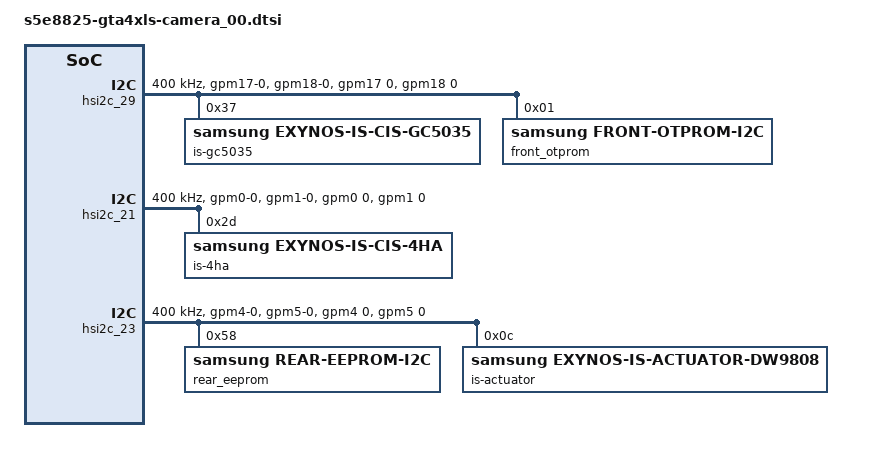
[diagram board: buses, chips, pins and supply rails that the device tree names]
/*
 * Samsung Exynos SoC series Pablo driver
 *
 * Copyright (c) 2021 Samsung Electronics Co., Ltd
 *
 * This program is free software; you can redistribute it and/or modify
 * it under the terms of the GNU General Public License version 2 as
 * published by the Free Software Foundation.
 */

#include <dt-bindings/camera/exynos_is_dt.h>

#include "module_4ha.dtsi"
#include "module_gc5035.dtsi"

/ {
	fragment@camera {
		target-path = "/";
		__overlay__ {
			#address-cells = <2>;
			#size-cells = <1>;
			interrupt-parent = <&gic>;

			/* WIDE */
			is_sensor_4ha: is_sensor_4ha@5A {
				power_seq {
					scenario_normal_on {
						20 { pname = "vdd_ldo25"; pin = <PIN_REGULATOR 1 0>; share = <SRT_ACQUIRE SHARED_PIN1 1>;};
					};

					scenario_normal_off {
						100 { pname = "vdd_ldo25"; pin = <PIN_REGULATOR 0 0>; share = <SRT_RELEASE SHARED_PIN1 0>;};
					};

					scenario_vision_on {
						20 { pname = "vdd_ldo25"; pin = <PIN_REGULATOR 1 0>; share = <SRT_ACQUIRE SHARED_PIN1 1>;};
					};

					scenario_vision_off {
						100 { pname = "vdd_ldo25"; pin = <PIN_REGULATOR 0 0>; share = <SRT_RELEASE SHARED_PIN1 0>;};
					};

					scenario_read_rom_on {
						10 { pname = "vdd_ldo25"; pin = <PIN_REGULATOR 1 6000>; share = <SRT_ACQUIRE SHARED_PIN1 1>;};
					};

					scenario_read_rom_off {
						30 { pname = "vdd_ldo25"; pin = <PIN_REGULATOR 0 25000>; share = <SRT_RELEASE SHARED_PIN1 0>;};
					};
				};
			};

			/* FRONT */
			is_sensor_gc5035: is_sensor_gc5035@6E {
				power_seq {
					scenario_normal_on {
						20 { pname = "vdd_ldo25"; pin = <PIN_REGULATOR 1 500>; share = <SRT_ACQUIRE SHARED_PIN1 1>;};
					};

					scenario_normal_off {
						50 { pname = "vdd_ldo25"; pin = <PIN_REGULATOR 0 0>; share = <SRT_RELEASE SHARED_PIN1 0>;};
					};

					scenario_vision_on {
						20 { pname = "vdd_ldo25"; pin = <PIN_REGULATOR 1 500>; share = <SRT_ACQUIRE SHARED_PIN1 1>;};
					};

					scenario_vision_off {
						50 { pname = "vdd_ldo25"; pin = <PIN_REGULATOR 0 0>; share = <SRT_RELEASE SHARED_PIN1 0>;};
					};

					scenario_read_rom_on {
						20 { pname = "vdd_ldo25"; pin = <PIN_REGULATOR 1 500>; share = <SRT_ACQUIRE SHARED_PIN1 1>;};
					};

					scenario_read_rom_off {
						50 { pname = "vdd_ldo25"; pin = <PIN_REGULATOR 0 0>; share = <SRT_RELEASE SHARED_PIN1 0>;};
					};
				};
			};

			/* REAR CAMERA */
			is_sensor0: is_sensor0@15030000 {
				#address-cells = <1>;
				#size-cells = <1>;
				scenario = <SENSOR_SCENARIO_NORMAL>;    /* Normal, Vision, OIS etc */
				id = <0>;
				csi_ch = <0>;
				status = "okay";
				use_cphy = <0>;

				interrupts = <0 INTREQ__CSIS0 IRQ_TYPE_LEVEL_HIGH>; /* MIPI-CSI0 */
				phys = <&mipi_phy_csis0_m0s4s4s4s4s2s1 0>;
				phy_setfile = <&d_phy_setfile>;
				phy_tune_default_mode = "3264 2448 30";
			};

			/* FRONT CAMERA */
			is_sensor1: is_sensor1@15040000 {
				#address-cells = <1>;
				#size-cells = <1>;
				reg = <0x0 0x15050000 0x1000>, /* MIPI-CSI2 */
					<0x0 0x150F0000 0x10000>; /* PHY: M0S4S4S4S4S2S1 */
				scenario = <SENSOR_SCENARIO_NORMAL>;    /* Normal, Vision, OIS etc */
				id = <1>;
				csi_ch = <2>;
				status = "okay";
				use_cphy = <0>;

				interrupts = <0 INTREQ__CSIS2 IRQ_TYPE_LEVEL_HIGH>; /* MIPI-CSI2 */
				phys = <&mipi_phy_csis2_m0s4s4s4s4s2s1 0>;
				phy_setfile = <&d_phy_setfile>;
				phy_tune_default_mode = "2576 1932 30";
			};
		}; /* end of __overlay__ */
	}; /* end of fragment */
}; /* end of root */

/***** reference symbol node *****/
/* GPIO_PERI */
&pinctrl_1 {
	/* WIDE I2C */
	hsi2c21_bus: hsi2c21-bus {
		samsung,pins = "gpm0-0", "gpm1-0";
		samsung,pin-function = <2>; /* 0: Input, 1: Output, 2: Func */
		samsung,pin-pud = <3>;      /* 0: NP, 1: PD, 2: Reserved, 3: PU */
		samsung,pin-drv = <0>;      /* 0: x1, 1: x2, 2: x3, 3: x4 */
	};

	hsi2c21_bus_in: hsi2c21-bus-in {
		samsung,pins = "gpm0-0", "gpm1-0";
		samsung,pin-function = <0>; /* 0: Input, 1: Output, 2: Func */
		samsung,pin-pud = <1>;      /* 0: NP, 1: PD, 2: Reserved, 3: PU */
		samsung,pin-drv = <0>;      /* 0: x1, 1: x2, 2: x3, 3: x4 */
	};

	/* AF_EEP I2C */
	hsi2c23_bus: hsi2c23-bus {
		samsung,pins = "gpm4-0", "gpm5-0";
		samsung,pin-function = <2>; /* 0: Input, 1: Output, 2: Func */
		samsung,pin-pud = <3>;      /* 0: NP, 1: PD, 2: Reserved, 3: PU */
		samsung,pin-drv = <0>;      /* 0: x1, 1: x2, 2: x3, 3: x4 */
	};

	hsi2c23_bus_in: hsi2c23-bus-in {
		samsung,pins = "gpm4-0", "gpm5-0";
		samsung,pin-function = <0>; /* 0: Input, 1: Output, 2: Func */
		samsung,pin-pud = <1>;      /* 0: NP, 1: PD, 2: Reserved, 3: PU */
		samsung,pin-drv = <0>;      /* 0: x1, 1: x2, 2: x3, 3: x4 */
	};

	/* FRONT I2C */
	hsi2c29_bus: hsi2c29-bus {
		samsung,pins = "gpm17-0", "gpm18-0";
		samsung,pin-function = <2>; /* 0: Input, 1: Output, 2: Func */
		samsung,pin-pud = <3>;      /* 0: NP, 1: PD, 2: Reserved, 3: PU */
		samsung,pin-drv = <0>;      /* 0: x1, 1: x2, 2: x3, 3: x4 */
	};

	hsi2c29_bus_in: hsi2c29-bus-in {
		samsung,pins = "gpm17-0", "gpm18-0";
		samsung,pin-function = <0>; /* 0: Input, 1: Output, 2: Func */
		samsung,pin-pud = <1>;      /* 0: NP, 1: PD, 2: Reserved, 3: PU */
		samsung,pin-drv = <0>;      /* 0: x1, 1: x2, 2: x3, 3: x4 */
	};
};


&hsi2c_29 {
	#address-cells = <1>;
	#size-cells = <0>;
	gpios = <&gpm17 0 0 &gpm18 0 0>;
	status = "okay";
	clock-frequency = <400000>;
	samsung,reset-before-trans;

	pinctrl-names = "default","on_i2c","off_i2c";
	pinctrl-0 = <&hsi2c29_bus_in>;
	pinctrl-1 = <&hsi2c29_bus>;
	pinctrl-2 = <&hsi2c29_bus_in>;

	is-gc5035@6E {
		compatible = "samsung,exynos-is-cis-gc5035";
		sensor-module = <&is_sensor_gc5035>;
		reg = <0x37>; /* 1 bit right shift */
		id = <1>; /* matching is_sensor id */
		use_initial_ae; /* for initial AE of face unlock */
		setfile = "setA";
		status = "okay";
		//vendor_use_adaptive_mipi;
	};

	front_otprom@6E {
		compatible = "samsung,front-otprom-i2c";
		reg = <0x01>;
		rom_power_position = <1>;
		rom_size = <0x1A6A>;
		cal_map_es_version = <1>;
		camera_module_es_version = "A";
		//skip_cal_loading;

		/* 0 header */
		header_crc_check_list = <0x0000 0x0042 0x0043>;
		/* 0 cross-talk */
		/* 1 standard cal */
		crc_check_list = <0x0061 0x00FA 0x00FB>;
		/* Master */
		rom_header_version_start_addr = <0x0008>;
		rom_header_cal_data_start_addr = <0x0000>;
		rom_header_cal_map_ver_start_addr = <0x0013>;
		rom_header_project_name_start_addr = <0x001B>;
		rom_header_module_id_addr = <0x0029>; /* 0x28 + reserved bytes */
		rom_header_sensor_id_addr = <0x0033>;
		rom_awb_master_addr = <0x006A>;

		use_standard_cal;
		rom_standard_cal_start_addr = <0x006A>;
		rom_standard_cal_end_addr = <0x00FA>;
		rom_standard_cal_sec2lsi_end_addr = <0x1A69>;
		rom_awb_start_addr = <0x006A>;
		rom_awb_end_addr = <0x0071>;
		rom_shading_start_addr = <0x0072>;
		rom_shading_end_addr = <0x00FA>;
		rom_factory_start_addr = <0x0047>;
		rom_factory_end_addr = <0x0060>;

		rom_awb_sec2lsi_start_addr = <0x006A>;
		rom_awb_sec2lsi_end_addr = <0x0071>;
		rom_awb_sec2lsi_checksum_addr = <0x0076>;
		rom_awb_sec2lsi_checksum_len = <0xC>;
		rom_shading_sec2lsi_start_addr = <0x007A>;
		rom_shading_sec2lsi_end_addr = <0x1A61>;
		rom_shading_sec2lsi_checksum_addr = <0x1A66>;
		rom_shading_sec2lsi_checksum_len = <0x19EC>;
		rom_factory_sec2lsi_start_addr = <0x0047>;
	};
};

&hsi2c_21 {
	#address-cells = <1>;
	#size-cells = <0>;
	gpios = <&gpm0 0 0 &gpm1 0 0>;
	status = "okay";
	clock-frequency = <400000>;
	samsung,reset-before-trans;

	pinctrl-names = "default","on_i2c","off_i2c";
	pinctrl-0 = <&hsi2c21_bus_in>;
	pinctrl-1 = <&hsi2c21_bus>;
	pinctrl-2 = <&hsi2c21_bus_in>;

	is-4ha@5A {
		compatible = "samsung,exynos-is-cis-4ha";
		sensor-module = <&is_sensor_4ha>;
		reg = <0x2D>; /* 1 bit right shift */
		id = <0>; /* matching is_sensor id */
		setfile = "setB";
		status = "okay";
		/* vendor_use_adaptive_mipi; */
	};
};

&hsi2c_23 {
	#address-cells = <1>;
	#size-cells = <0>;
	gpios = <&gpm4 0 0 &gpm5 0 0>;
	status = "okay";
	clock-frequency = <400000>;
	samsung,reset-before-trans;

	pinctrl-names = "default","on_i2c","off_i2c";
	pinctrl-0 = <&hsi2c23_bus_in>;
	pinctrl-1 = <&hsi2c23_bus>;
	pinctrl-2 = <&hsi2c23_bus_in>;

	rear_eeprom@B0 { /* Rear Wide eeprom */
		compatible = "samsung,rear-eeprom-i2c";
		reg = <0x58>;

		rom_power_position = <0>;
		rom_size = <0x1E20>;
		cal_map_es_version = <1>;
		camera_module_es_version = "A";
		//skip_cal_loading;

		/* 0 header */
		header_crc_check_list = <0x0000 0x00FB 0x00FC>;

		crc_check_list = <  0x0140 0x018B 0X018C
			0x0420 0x083B 0x083C>;
		/* Master */
		rom_header_version_start_addr = <0x48>;
		rom_header_cal_data_start_addr = <0x00>;
		rom_header_cal_map_ver_start_addr = <0x73>;
		rom_header_project_name_start_addr = <0x7B>;
		rom_header_module_id_addr = <0xAE>;
		rom_header_sensor_id_addr = <0xB8>;
		rom_awb_master_addr = <0x0420>;
		rom_af_cal_addr = <0x014C 0x0140>; /* Near Far Mid1 ... Mid7 */

		use_standard_cal;
		rom_standard_cal_start_addr = <0x0100>;
		rom_standard_cal_end_addr = <0x083F>;
		rom_standard_cal_sec2lsi_end_addr = <0x1E1F>;
		rom_awb_start_addr = <0x0420>;
		rom_awb_end_addr = <0x0427>;
		rom_shading_start_addr = <0x0434>;
		rom_shading_end_addr = <0x082C>;
		rom_factory_start_addr = <0x01E0>;
		rom_factory_end_addr = <0x041F>;

		rom_awb_sec2lsi_start_addr = <0x0420>;
		rom_awb_sec2lsi_end_addr = <0x0427>;
		rom_awb_sec2lsi_checksum_addr = <0x042C>;
		rom_awb_sec2lsi_checksum_len = <0xC>;
		rom_shading_sec2lsi_start_addr = <0x0430>;
		rom_shading_sec2lsi_end_addr = <0x1E17>;
		rom_shading_sec2lsi_checksum_addr = <0x1E1C>;
		rom_shading_sec2lsi_checksum_len = <0x19EC>;
		rom_factory_sec2lsi_start_addr = <0x01E0>;
	};

	is-actuator@18 {
		compatible = "samsung,exynos-is-actuator-dw9808";
		sensor-module = <&is_sensor_4ha>;
		reg = <0x0C>;
		id = <0>; /* matching is_sensor id */
	};
};

&exynos_is {
	pinctrl-names = "default","sleep";
	pinctrl-0 = <>;
	pinctrl-1 = <>;

	vender {
		use_module_check;
		check_sensor_vendor;
		aperture_sensor_index = <0>;

		is_vendor_sensor_count = <2>;
		max_supported_camera = <2>;
		supported_cameraId = <0 1>;
		/* ois_gyro_list = <0x00 0x00 0x01 0x01 0x01>; */
		/*
		* Wide(0)
		* Front(1)
		* U Wide(2)
		* Front 80(3) - not available for factory
		* Front Secure(5) - not available for factory
		* DUAL_REAR_PORTRAIT_WIDE(23)
		* Bokeh(52)
		* Rear_UW(58)
		* Macro(60)
		*/

		/* sysfs camera id */
		max_camera_num = <2>;
		sensor_id { /* sensor position = <sensor_id> */
			0 = <39>;	/* 4ha */
			1 = <210>;	/* gc5035 */
		};

		camera_info0 {			/* 0 : sysfs rear */
			internal_id = <0>;	/* 0 : wide */
			isp = <0>;		/* 0 : INT, 1 : EXT, 2 : SOC */
			cal_memory = <2>;	/* 0 : N, 1 : FROM, 2 : EEPROM, 3 : OTP */
			read_version = <0>;	/* 0 : SYSFS, 1 : CAMON */
			core_voltage = <0>;	/* 0 : N, 1 : Y */
			upgrade = <0>;		/* 0 : N, 1 : SYSFS , 2 : CAMON */
			fw_write = <0>;		/* 0 : N, 1 : OS, 2 : SD, 3 : ALL */
			fw_dump = <0>;		/* 0 : N, 1 : Y */
			companion = <0>;	/* 0 : N, 1 : Y */
			ois = <0>;		/* 0 : N, 1 : Y */
			valid = <1>;		/* 0 : INVALID, 1 : VALID */
		};
		camera_info1 {			/* 1 : sysfs front */
			internal_id = <1>;	/* 1 : front master */
			isp = <0>;		/* 0 : INT, 1 : EXT, 2 : SOC */
			cal_memory = <3>;	/* 0 : N, 1 : FROM, 2 : EEPROM, 3 : OTP */
			read_version = <0>;	/* 0 : SYSFS, 1 : CAMON */
			core_voltage = <0>;	/* 0 : N, 1 : Y */
			upgrade = <0>;		/* 0 : N, 1 : SYSFS, 2 : CAMON */
			fw_write = <0>;		/* 0 : N, 1 : OS, 2 : SD, 3 : ALL */
			fw_dump = <0>;		/* 0 : N, 1 : Y */
			companion = <0>;	/* 0 : N, 1 : Y */
			ois = <0>;		/* 0 : N, 1 : Y */
			valid = <1>;		/* 0 : INVALID, 1 : VALID */
		};
	};

	lic_offsets {
		/* 3AA = <setA lic offset0, setA lic offset1, set A trigger context */
		/*		setB lic offset0, setB lic offset1, set B trigger context> */
		/* 4672: 4640x4352 */
		/* 5824: 5804x4352 */
		3AA = <5461 10922 0 5461 10922 0>;
	};

	buffer_info {
		ypp_buf_max_width = <4608>;	/* defalut value : 5760 */
	};

	is_dvfs {
		#define CPU_CL0	"0-5"
		#define CPU_CL1	"6-7"
		#define CPU_ALL	"0-7"

		table0 {
			desc = "dvfs table v0.2";

			default_cam = <1>;
			default_isp = <1>;
			default_mif = <1>;
			default_int = <2>;
			default_cpu = CPU_CL0;

			rear_single_photo_mif = <3>;
			rear_single_photo_int = <4>;
			rear_single_photo_cpu = CPU_CL0;

			rear_single_photo_full_mif = <2>;
			rear_single_photo_full_int = <3>;
			rear_single_photo_full_cpu = CPU_CL0;

			rear_single_vt_photo_mif = <2>;
			rear_single_vt_photo_int = <3>;
			rear_single_vt_photo_cpu = CPU_CL0;

			rear_single_video_fhd30_mif = <3>;
			rear_single_video_fhd30_int = <4>;
			rear_single_video_fhd30_cpu = CPU_CL0;

			rear_single_videohdr_mif = <0>;
			rear_single_videohdr_int = <0>;
			rear_single_videohdr_cpu = CPU_CL0;

			rear_single_video_fhd60_mif = <1>;
			rear_single_video_fhd60_int = <4>;
			rear_single_video_fhd60_cpu = CPU_CL0;

			rear_single_video_uhd30_mif = <0>;
			rear_single_video_uhd30_int = <4>;
			rear_single_video_uhd30_cpu = CPU_CL0;

			rear_single_video_uhd60_mif = <0>;
			rear_single_video_uhd60_int = <0>;
			rear_single_video_uhd60_cpu = CPU_CL0;

			rear_single_capture_isp = <1>;
			rear_single_capture_mif = <0>;
			rear_single_capture_int = <1>;
			rear_single_capture_cpu = CPU_CL0;

			rear_single_video_fhd120_mif = <0>;
			rear_single_video_fhd120_int = <3>;
			rear_single_video_fhd120_cpu = CPU_CL0;

			rear_single_video_fhd240_mif = <0>;
			rear_single_video_fhd240_int = <0>;
			rear_single_video_fhd240_hpg = <8>;
			rear_single_video_fhd240_cpu = CPU_CL0;

			rear_single_video_fhd480_mif = <0>;
			rear_single_video_fhd480_int = <0>;
			rear_single_video_fhd480_cpu = CPU_CL0;

			rear_single_video_hd30_mif = <4>;
			rear_single_video_hd30_int = <4>;
			rear_single_video_hd30_cpu = CPU_CL0;

			rear_single_video_hd240_mif = <0>;
			rear_single_video_hd240_int = <4>;
			rear_single_video_hd240_hpg = <8>;
			rear_single_video_hd240_cpu = CPU_CL0;

			rear_single_ssm_isp = <0>;
			rear_single_ssm_mif = <0>;
			rear_single_ssm_int = <0>;
			rear_single_ssm_cpu = CPU_CL0;

			rear_single_video_8k24_mif = <0>;
			rear_single_video_8k24_int = <0>;
			rear_single_video_8k24_cpu = CPU_CL0;

			rear_single_video_8k30_mif = <0>;
			rear_single_video_8k30_int = <0>;
			rear_single_video_8k30_cpu = CPU_CL0;

			rear_single_fastae_mif = <0>;
			rear_single_fastae_int = <0>;
			rear_single_fastae_cpu = CPU_CL0;

			rear_single_remosaic_photo_mif = <3>;
			rear_single_remosaic_photo_int = <4>;
			rear_single_remosaic_photo_cpu = CPU_CL0;

			rear_single_remosaic_capture_cam = <3>;
			rear_single_remosaic_capture_isp = <1>;
			rear_single_remosaic_capture_mif = <0>;
			rear_single_remosaic_capture_int = <1>;
			rear_single_remosaic_capture_cpu = CPU_CL0;

			rear_dual_wide_tele_photo_mif = <3>;
			rear_dual_wide_tele_photo_int = <4>;
			rear_dual_wide_tele_photo_cpu = CPU_CL0;

			rear_dual_wide_ultrawide_photo_mif = <0>;
			rear_dual_wide_ultrawide_photo_int = <0>;
			rear_dual_wide_ultrawide_photo_cpu = CPU_CL0;

			rear_dual_wide_ultrawide_video_fhd30_mif = <0>;
			rear_dual_wide_ultrawide_video_fhd30_int = <0>;
			rear_dual_wide_ultrawide_video_fhd30_cpu = CPU_CL0;

			rear_dual_wide_ultrawide_video_uhd30_mif = <0>;
			rear_dual_wide_ultrawide_video_uhd30_int = <0>;
			rear_dual_wide_ultrawide_video_uhd30_cpu = CPU_CL0;

			rear_dual_wide_ultrawide_capture_isp = <0>;
			rear_dual_wide_ultrawide_capture_mif = <0>;
			rear_dual_wide_ultrawide_capture_int = <0>;
			rear_dual_wide_ultrawide_capture_cpu = CPU_CL0;

			triple_photo_mif = <0>;
			triple_photo_int = <0>;
			triple_photo_cpu = CPU_CL0;

			triple_video_fhd30_mif = <0>;
			triple_video_fhd30_int = <0>;
			triple_video_fhd30_cpu = CPU_CL0;

			triple_video_uhd30_mif = <0>;
			triple_video_uhd30_int = <0>;
			triple_video_uhd30_cpu = CPU_CL0;

			triple_video_fhd60_mif = <0>;
			triple_video_fhd60_int = <0>;
			triple_video_fhd60_cpu = CPU_CL0;

			triple_video_uhd60_mif = <0>;
			triple_video_uhd60_int = <0>;
			triple_video_uhd60_cpu = CPU_CL0;

			triple_capture_isp = <0>;
			triple_capture_mif = <0>;
			triple_capture_int = <0>;
			triple_capture_cpu = CPU_CL0;

			front_single_photo_mif = <4>;
			front_single_photo_int = <4>;
			front_single_photo_cpu = CPU_CL0;

			front_single_photo_full_mif = <2>;
			front_single_photo_full_int = <3>;
			front_single_photo_full_cpu = CPU_CL0;

			front_single_video_fhd30_mif = <3>;
			front_single_video_fhd30_int = <4>;
			front_single_video_fhd30_cpu = CPU_CL0;

			front_single_video_uhd30_mif = <1>;
			front_single_video_uhd30_int = <4>;
			front_single_video_uhd30_cpu = CPU_CL0;

			front_single_video_fhd60_mif = <1>;
			front_single_video_fhd60_int = <3>;
			front_single_video_fhd60_cpu = CPU_CL0;

			front_single_video_uhd60_mif = <0>;
			front_single_video_uhd60_int = <0>;
			front_single_video_uhd60_cpu = CPU_CL0;

			front_single_video_hd30_mif = <4>;
			front_single_video_hd30_int = <4>;
			front_single_video_hd30_cpu = CPU_CL0;

			front_single_capture_isp = <1>;
			front_single_capture_mif = <1>;
			front_single_capture_int = <2>;
			front_single_capture_cpu = CPU_CL0;

			front_single_vt_mif = <2>;
			front_single_vt_int = <3>;
			front_single_vt_cpu = CPU_CL0;

			front_single_secure_isp = <6>;
			front_single_secure_mif = <2>;
			front_single_secure_int = <3>;
			front_single_secure_cpu = CPU_CL0;

			front_single_video_fhd120_mif = <0>;
			front_single_video_fhd120_int = <0>;
			front_single_video_fhd120_cpu = CPU_CL0;

			pip_dual_photo_mif = <0>;
			pip_dual_photo_int = <0>;
			pip_dual_photo_cpu = CPU_CL0;

			pip_dual_capture_isp = <0>;
			pip_dual_capture_mif = <0>;
			pip_dual_capture_int = <0>;
			pip_dual_capture_cpu = CPU_CL0;

			pip_dual_video_fhd30_mif = <0>;
			pip_dual_video_fhd30_int = <0>;
			pip_dual_video_fhd30_cpu = CPU_CL0;

			ext_rear_single_cam = <0>;
			ext_rear_single_isp = <0>;
			ext_rear_single_mif = <0>;
			ext_rear_single_int = <0>;
			ext_rear_single_cpu = CPU_CL0;

			ext_front_secure_cam = <0>;
			ext_front_secure_isp = <0>;
			ext_front_secure_mif = <0>;
			ext_front_secure_int = <0>;
			ext_front_secure_cpu = CPU_CL0;

			max_cam = <0>;
			max_isp = <0>;
			max_mif = <0>;
			max_int = <0>;
			max_cpu = CPU_CL0;
		};
	};
};

